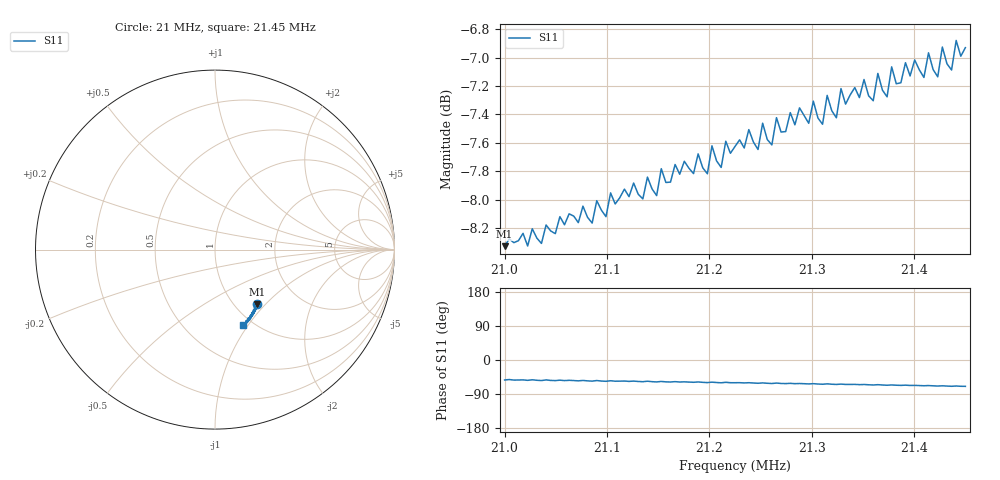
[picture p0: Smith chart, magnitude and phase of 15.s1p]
# Hz S RI R 50
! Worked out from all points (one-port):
!   101 points, 21 MHz to 21.45 MHz, reference 50 ohm
!   lowest |S11| = -8.3 dB at 21 MHz (marker M1), VSWR 2.24, Z = 62.5 - j44.7 ohm
!   |S11| at or under -10 dB: nowhere
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2.1e7  0.2322 -0.305
2.10045e7  0.2395 -0.3022
2.10225e7  0.2271 -0.3088
2.1027e7  0.2381 -0.3073
2.1036e7  0.2245 -0.3118
2.10405e7  0.2371 -0.3096
2.10585e7  0.2275 -0.3168
2.11125e7  0.2241 -0.3298
2.1126e7  0.2276 -0.3332
2.1135e7  0.2154 -0.3351
2.11395e7  0.2266 -0.3362
2.11485e7  0.2123 -0.3383
2.1153e7  0.2249 -0.3407
2.1171e7  0.2147 -0.345
2.1189e7  0.2196 -0.35
2.1198e7  0.2057 -0.3507
2.12025e7  0.2174 -0.3545
2.12115e7  0.2035 -0.3543
2.1225e7  0.2081 -0.3598
2.12385e7  0.2113 -0.3646
2.12475e7  0.1986 -0.3639
2.1252e7  0.2089 -0.3685
2.1261e7  0.1953 -0.3675
2.12655e7  0.2071 -0.3716
2.12835e7  0.1957 -0.375
2.13375e7  0.1867 -0.3911
2.1396e7  0.1709 -0.4056
2.145e7  0.1575 -0.4219
